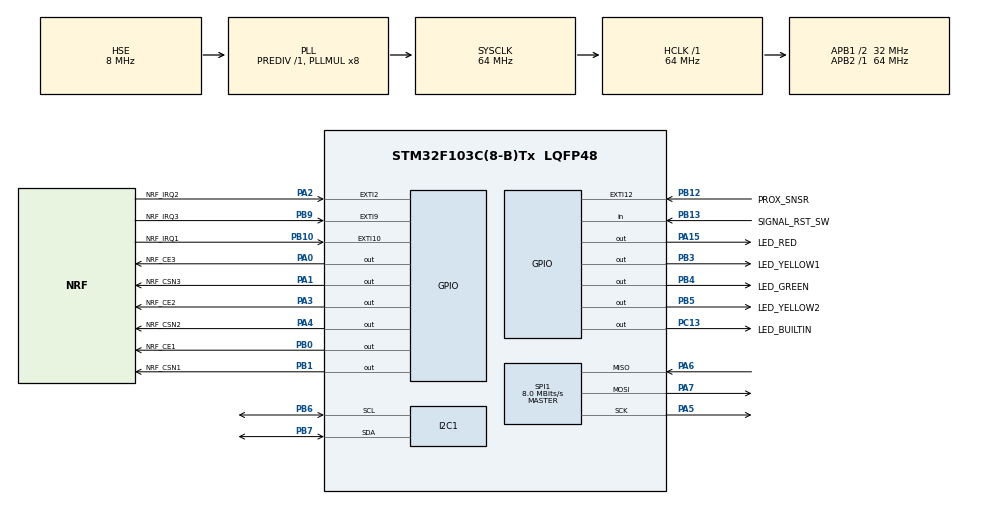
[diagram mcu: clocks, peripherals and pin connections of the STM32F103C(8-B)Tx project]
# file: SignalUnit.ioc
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I2C1.I2C_Mode=I2C_Fast
I2C1.OwnAddress=6
Mcu.Family=STM32F1
Mcu.Name=STM32F103C(8-B)Tx
Mcu.Package=LQFP48
NVIC.EXTI15_10_IRQn=true\:0\:0\:false\:false\:true\:true\:true\:true
NVIC.EXTI2_IRQn=true\:0\:0\:true\:false\:true\:true\:true\:true
NVIC.EXTI9_5_IRQn=true\:0\:0\:true\:false\:true\:true\:true\:true
NVIC.I2C1_ER_IRQn=true\:0\:0\:false\:false\:true\:true\:true\:true
NVIC.I2C1_EV_IRQn=true\:1\:0\:true\:false\:true\:true\:true\:true
NVIC.PriorityGroup=NVIC_PRIORITYGROUP_4
PA0-WKUP.GPIO_Label=NRF_CE3
PA0-WKUP.Signal=GPIO_Output
PA1.GPIO_Label=NRF_CSN3
PA1.PinState=GPIO_PIN_SET
PA1.Signal=GPIO_Output
PA13.Mode=Serial_Wire
PA13.Signal=SYS_JTMS-SWDIO
PA14.Mode=Serial_Wire
PA14.Signal=SYS_JTCK-SWCLK
PA15.GPIO_Label=LED_RED
PA15.Signal=GPIO_Output
PA2.GPIO_Label=NRF_IRQ2
PA2.GPIO_ModeDefaultEXTI=GPIO_MODE_IT_FALLING
PA2.Signal=GPXTI2
PA3.GPIO_Label=NRF_CE2
PA3.Signal=GPIO_Output
PA4.GPIO_Label=NRF_CSN2
PA4.PinState=GPIO_PIN_SET
PA4.Signal=GPIO_Output
PA5.Mode=Full_Duplex_Master
PA5.Signal=SPI1_SCK
PA6.Mode=Full_Duplex_Master
PA6.Signal=SPI1_MISO
PA7.Mode=Full_Duplex_Master
PA7.Signal=SPI1_MOSI
PB0.GPIO_Label=NRF_CE1
PB0.Signal=GPIO_Output
PB1.GPIO_Label=NRF_CSN1
PB1.PinState=GPIO_PIN_SET
PB1.Signal=GPIO_Output
PB10.GPIO_Label=NRF_IRQ1
PB10.GPIO_ModeDefaultEXTI=GPIO_MODE_IT_FALLING
PB10.Signal=GPXTI10
PB12.GPIO_Label=PROX_SNSR
PB12.GPIO_ModeDefaultEXTI=GPIO_MODE_IT_FALLING
PB12.Signal=GPXTI12
PB13.GPIO_Label=SIGNAL_RST_SW
PB13.Signal=GPIO_Input
PB3.GPIO_Label=LED_YELLOW1
PB3.Signal=GPIO_Output
PB4.GPIO_Label=LED_GREEN
PB4.Signal=GPIO_Output
PB5.GPIO_Label=LED_YELLOW2
PB5.Signal=GPIO_Output
PB6.Mode=I2C
PB6.Signal=I2C1_SCL
PB7.Mode=I2C
PB7.Signal=I2C1_SDA
PB9.GPIO_Label=NRF_IRQ3
PB9.GPIO_ModeDefaultEXTI=GPIO_MODE_IT_FALLING
PB9.Signal=GPXTI9
PC13-TAMPER-RTC.GPIO_Label=LED_BUILTIN
PC13-TAMPER-RTC.PinState=GPIO_PIN_SET
PC13-TAMPER-RTC.Signal=GPIO_Output
PD0-OSC_IN.Mode=HSE-External-Oscillator
PD0-OSC_IN.Signal=RCC_OSC_IN
PD1-OSC_OUT.Mode=HSE-External-Oscillator
PD1-OSC_OUT.Signal=RCC_OSC_OUT
ProjectManager.HeapSize=0x200
ProjectManager.StackSize=0x400
ProjectManager.TargetToolchain=STM32CubeIDE
RCC.AHBFreq_Value=64000000
RCC.APB1CLKDivider=RCC_HCLK_DIV2
RCC.APB1Freq_Value=32000000
RCC.APB1TimFreq_Value=64000000
RCC.APB2Freq_Value=64000000
RCC.APB2TimFreq_Value=64000000
RCC.HCLKFreq_Value=64000000
RCC.PLLMUL=RCC_PLL_MUL8
RCC.PLLSourceVirtual=RCC_PLLSOURCE_HSE
RCC.SYSCLKFreq_VALUE=64000000
RCC.SYSCLKSource=RCC_SYSCLKSOURCE_PLLCLK
RCC.USBFreq_Value=64000000
SPI1.BaudRatePrescaler=SPI_BAUDRATEPRESCALER_8
SPI1.CLKPolarity=SPI_POLARITY_LOW
SPI1.CalculateBaudRate=8.0 MBits/s
SPI1.Direction=SPI_DIRECTION_2LINES
SPI1.Mode=SPI_MODE_MASTER
SPI1.VirtualType=VM_MASTER
board=custom

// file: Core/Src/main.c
/* USER CODE BEGIN Header */

/* USER CODE END Header */
#include "main.h"

/* USER CODE BEGIN Includes */
#include "nrf24.h"
#include "config.h"
#include "nodes.h"
/* USER CODE END Includes */

/* USER CODE BEGIN PTD */
typedef enum
{
	SLAVE, MASTER
} NodeType;

typedef struct CommunicatingNode
{
	NRF24 *nrf;
	Payload *pl;
	struct CommunicatingNode *next;
	uint8_t nodeID;
} ComNode;
/* USER CODE END PTD */

I2C_HandleTypeDef hi2c1;

SPI_HandleTypeDef hspi1;

/* USER CODE BEGIN PV */
static NRF24 nrf1 = { &hspi1, NRF_CSN1_GPIO_Port, NRF_CSN1_Pin,
NRF_CE1_Pin, NRF_IRQ1_Pin };
static NRF24 nrf2 = { &hspi1, NRF_CSN2_GPIO_Port, NRF_CSN2_Pin,
NRF_CE2_Pin, NRF_IRQ2_Pin };
static NRF24 nrf3 = { &hspi1, NRF_CSN3_GPIO_Port, NRF_CSN3_Pin,
NRF_CE3_Pin, NRF_IRQ3_Pin };

static Payload locomotiveNodePayload = { 0 }, prevNodePayload = { 0 }, nextNodePayload = { 0 };
volatile Payload i2cPayload = { 0 };

static ComNode prevSignalNode = { 0 }, nextSignalNode = { 0 }, locomotiveNode = { 0 };
static ComNode *currentComNode = NULL;

static volatile bool nrf1IRQTriggered = false, nrf2IRQTriggered = false, nrf3IRQTriggered = false, IICSignalReset = false,
		newI2CPayload = false;
static volatile Signal homeSignalBtnState;
static Signal prevHomeSignalBtnState;

/* USER CODE END PV */

void SystemClock_Config(void);
static void MX_GPIO_Init(void);
static void MX_I2C1_Init(void);
static void MX_SPI1_Init(void);
/* USER CODE BEGIN PFP */
static void inline radioInit(NRF24 *nrf24, const uint8_t *address, uint8_t RFChannel, uint8_t operationMode);
static void inline masterNode(void);
static void inline slaveNode(void);
/* USER CODE END PFP */

int main(void)
{

	/* USER CODE BEGIN 1 */
	NodeType nodeType = (THIS_NODE_NUM % 2) ? SLAVE : MASTER;
	uint8_t nrf24OperationMode = nRF24_MODE_RX;
	/* USER CODE END 1 */

	/* MCU Configuration--------------------------------------------------------*/

	/* Reset of all peripherals, Initializes the Flash interface and the Systick. */
	HAL_Init();

	/* Configure the system clock */
	SystemClock_Config();

	/* Initialize all configured peripherals */
	MX_GPIO_Init();
	MX_I2C1_Init();
	MX_SPI1_Init();
	/* USER CODE BEGIN 2 */
	signalStateInit();

	// if node type is master then set nrf module into PTX mode and start communication with previous node first
	// else set nrf module into PRX and start communication with the next node
	if (nodeType == MASTER)
	{
		nrf24OperationMode = nRF24_MODE_TX;

		if (thisNode.prev != NULL)
			currentComNode = &prevSignalNode;
		else
			currentComNode = &nextSignalNode;

	} else
	{
		nrf24OperationMode = nRF24_MODE_RX;

		if (thisNode.next != NULL)
			currentComNode = &nextSignalNode;
		else
			currentComNode = &prevSignalNode;
	}

	// initialize the nrf module for lower signal node and prev signal node structure (if present)
	if (thisNode.prev != NULL)
	{
		prevSignalNode.nrf = &nrf1;
		prevSignalNode.pl = &prevNodePayload;

		if (thisNode.next != NULL)
			prevSignalNode.next = &nextSignalNode;

		prevSignalNode.nodeID = thisNode.prev->nodeID;
		radioInit(prevSignalNode.nrf, PREV_NODE_ADDRESS, NRF24_LOWER_NODE_RF_CHANNEL, nrf24OperationMode);
	}

	// initialize the nrf module for lower signal node and next signal node structure
	if (thisNode.next != NULL)
	{
		nextSignalNode.nrf = &nrf2;
		nextSignalNode.pl = &nextNodePayload;

		if (thisNode.prev != NULL)
			nextSignalNode.next = &prevSignalNode;

		nextSignalNode.nodeID = thisNode.next->nodeID;

		radioInit(nextSignalNode.nrf, NEXT_NODE_ADDRESS, NRF24_HIGHER_NODE_RF_CHANNEL, nrf24OperationMode);
	}

	locomotiveNode.nrf = &nrf3;
	locomotiveNode.pl = &locomotiveNodePayload;
	locomotiveNode.next = NULL;
	radioInit(locomotiveNode.nrf, LOCOMOTIVE_NODE_ADDRESS, NRF24_LOCOMOTIVE_NODE_RF_CHANNEL, nRF24_MODE_RX);

	/* USER CODE END 2 */

	/* Infinite loop */
	/* USER CODE BEGIN WHILE */

	// if a previous node exist and this node is a slave
	// then write the ack payload and set the respective nrf module in RX mode
	if (thisNode.prev != NULL)
	{
		updateTxPayload(prevSignalNode.pl, thisNode.prev->nodeID);

		if (nrf24OperationMode == nRF24_MODE_RX)
		{
			// update ack payload
			nRF24_WriteAckPayload(prevSignalNode.nrf, nRF24_PIPE0, (char*) prevSignalNode.pl->transmitPayload,
			PAYLOAD_LENGTH);
			// start receiving when configured as PRX
			nRF24_CE_H(prevSignalNode.nrf);
		}
	}

	// if a next node exist and this node is a slave
	// then write the ack payload and set the respective nrf module in RX mode
	if (thisNode.next != NULL)
	{
		updateTxPayload(nextSignalNode.pl, thisNode.next->nodeID);

		if (nrf24OperationMode == nRF24_MODE_RX)
		{
			// update ack payload
			nRF24_WriteAckPayload(nextSignalNode.nrf, nRF24_PIPE0, (char*) nextSignalNode.pl->transmitPayload,
			PAYLOAD_LENGTH);
			// start receiving when configured as PRX
			nRF24_CE_H(nextSignalNode.nrf);
		}
	}

	// initializing the locomotive nrf module
	updateTxPayload(locomotiveNode.pl, LOCOMOTIVE_NODE_ID);
	nRF24_WriteAckPayload(locomotiveNode.nrf, nRF24_PIPE0, (char*) locomotiveNode.pl->transmitPayload, PAYLOAD_LENGTH);
	// write ack payload
	nRF24_CE_H(locomotiveNode.nrf);	// start receiving

	// enable i2c only for first and last node, that is the home signals
	if (THIS_NODE_NUM == 1 || THIS_NODE_NUM == TOTAL_NO_OF_NODES)
	{
		HAL_I2C_Slave_Receive_IT(&hi2c1, i2cPayload.receivePayload, IIC_RX_PAYLOAD_LENGTH);
	}

	while (1)
	{
		// IICSignalReset and homeSignalBtnState are modified in the i2c IRQ,
		// and the only first and last node have i2c enabled
		if ((THIS_NODE_NUM == 1 || THIS_NODE_NUM == TOTAL_NO_OF_NODES) && newI2CPayload)
		{
			thisNode.signalReset = IICSignalReset;

		    // set currentSignalState to RED when Home Signal switch toggles from 0 to 1
		    // set currentSignalState to GREEN when Home Signal switch toggle from 1 to 0
		    if (homeSignalBtnState != prevHomeSignalBtnState) {
		      if (homeSignalBtnState)
					currentSignalState = &red;
		      else {
					currentSignalState = &green;
		      }
		    }
		    prevHomeSignalBtnState = homeSignalBtnState;

			newI2CPayload = false;
		}

		// reset axle counter and signal state
		if ((HAL_GPIO_ReadPin(SIGNAL_RST_SW_GPIO_Port, SIGNAL_RST_SW_Pin) == GPIO_PIN_RESET) || thisNode.signalReset)
		{
			axleCounter = 0;
			currentSignalState = &green;
			trainDir = TRAIN_DIR_NOT_KNOWN;
		}

		switch (nodeType)
		{
		case MASTER:
			masterNode();
			break;

		case SLAVE:
			slaveNode();
			break;

		default:
			break;
		}
		/* USER CODE END WHILE */

	}
}

void SystemClock_Config(void)
{
	RCC_OscInitTypeDef RCC_OscInitStruct = { 0 };
	RCC_ClkInitTypeDef RCC_ClkInitStruct = { 0 };

	/** Initializes the RCC Oscillators according to the specified parameters
	 * in the RCC_OscInitTypeDef structure.
	 */
	RCC_OscInitStruct.OscillatorType = RCC_OSCILLATORTYPE_HSE;
	RCC_OscInitStruct.HSEState = RCC_HSE_ON;
	RCC_OscInitStruct.HSEPredivValue = RCC_HSE_PREDIV_DIV1;
	RCC_OscInitStruct.HSIState = RCC_HSI_ON;
	RCC_OscInitStruct.PLL.PLLState = RCC_PLL_ON;
	RCC_OscInitStruct.PLL.PLLSource = RCC_PLLSOURCE_HSE;
	RCC_OscInitStruct.PLL.PLLMUL = RCC_PLL_MUL8;
	if (HAL_RCC_OscConfig(&RCC_OscInitStruct) != HAL_OK)
	{
		Error_Handler();
	}

	/** Initializes the CPU, AHB and APB buses clocks
	 */
	RCC_ClkInitStruct.ClockType = RCC_CLOCKTYPE_HCLK | RCC_CLOCKTYPE_SYSCLK | RCC_CLOCKTYPE_PCLK1 | RCC_CLOCKTYPE_PCLK2;
	RCC_ClkInitStruct.SYSCLKSource = RCC_SYSCLKSOURCE_PLLCLK;
	RCC_ClkInitStruct.AHBCLKDivider = RCC_SYSCLK_DIV1;
	RCC_ClkInitStruct.APB1CLKDivider = RCC_HCLK_DIV2;
	RCC_ClkInitStruct.APB2CLKDivider = RCC_HCLK_DIV1;

	if (HAL_RCC_ClockConfig(&RCC_ClkInitStruct, FLASH_LATENCY_2) != HAL_OK)
	{
		Error_Handler();
	}
}

static void MX_I2C1_Init(void)
{

	hi2c1.Instance = I2C1;
	hi2c1.Init.ClockSpeed = 400000;
	hi2c1.Init.DutyCycle = I2C_DUTYCYCLE_2;
	hi2c1.Init.OwnAddress1 = 12;
	hi2c1.Init.AddressingMode = I2C_ADDRESSINGMODE_7BIT;
	hi2c1.Init.DualAddressMode = I2C_DUALADDRESS_DISABLE;
	hi2c1.Init.OwnAddress2 = 0;
	hi2c1.Init.GeneralCallMode = I2C_GENERALCALL_DISABLE;
	hi2c1.Init.NoStretchMode = I2C_NOSTRETCH_DISABLE;
	if (HAL_I2C_Init(&hi2c1) != HAL_OK)
	{
		Error_Handler();
	}

}

static void MX_SPI1_Init(void)
{

	/* SPI1 parameter configuration*/
	hspi1.Instance = SPI1;
	hspi1.Init.Mode = SPI_MODE_MASTER;
	hspi1.Init.Direction = SPI_DIRECTION_2LINES;
	hspi1.Init.DataSize = SPI_DATASIZE_8BIT;
	hspi1.Init.CLKPolarity = SPI_POLARITY_LOW;
	hspi1.Init.CLKPhase = SPI_PHASE_1EDGE;
	hspi1.Init.NSS = SPI_NSS_SOFT;
	hspi1.Init.BaudRatePrescaler = SPI_BAUDRATEPRESCALER_8;
	hspi1.Init.FirstBit = SPI_FIRSTBIT_MSB;
	hspi1.Init.TIMode = SPI_TIMODE_DISABLE;
	hspi1.Init.CRCCalculation = SPI_CRCCALCULATION_DISABLE;
	hspi1.Init.CRCPolynomial = 10;
	if (HAL_SPI_Init(&hspi1) != HAL_OK)
	{
		Error_Handler();
	}

}

static void MX_GPIO_Init(void)
{
	GPIO_InitTypeDef GPIO_InitStruct = { 0 };

	/* GPIO Ports Clock Enable */
	__HAL_RCC_GPIOC_CLK_ENABLE();
	__HAL_RCC_GPIOD_CLK_ENABLE();
	__HAL_RCC_GPIOA_CLK_ENABLE();
	__HAL_RCC_GPIOB_CLK_ENABLE();

	/*Configure GPIO pin Output Level */
	HAL_GPIO_WritePin(LED_BUILTIN_GPIO_Port, LED_BUILTIN_Pin, GPIO_PIN_SET);

	/*Configure GPIO pin Output Level */
	HAL_GPIO_WritePin(GPIOA, NRF_CE3_Pin | NRF_CE2_Pin | LED_RED_Pin, GPIO_PIN_RESET);

	/*Configure GPIO pin Output Level */
	HAL_GPIO_WritePin(GPIOA, NRF_CSN3_Pin | NRF_CSN2_Pin, GPIO_PIN_SET);

	/*Configure GPIO pin Output Level */
	HAL_GPIO_WritePin(GPIOB, NRF_CE1_Pin | LED_YELLOW1_Pin | LED_GREEN_Pin | LED_YELLOW2_Pin, GPIO_PIN_RESET);

	/*Configure GPIO pin Output Level */
	HAL_GPIO_WritePin(NRF_CSN1_GPIO_Port, NRF_CSN1_Pin, GPIO_PIN_SET);

	/*Configure GPIO pin : LED_BUILTIN_Pin */
	GPIO_InitStruct.Pin = LED_BUILTIN_Pin;
	GPIO_InitStruct.Mode = GPIO_MODE_OUTPUT_PP;
	GPIO_InitStruct.Pull = GPIO_NOPULL;
	GPIO_InitStruct.Speed = GPIO_SPEED_FREQ_LOW;
	HAL_GPIO_Init(LED_BUILTIN_GPIO_Port, &GPIO_InitStruct);

	/*Configure GPIO pins : NRF_CE3_Pin NRF_CSN3_Pin NRF_CE2_Pin NRF_CSN2_Pin
	 LED_RED_Pin */
	GPIO_InitStruct.Pin = NRF_CE3_Pin | NRF_CSN3_Pin | NRF_CE2_Pin | NRF_CSN2_Pin | LED_RED_Pin;
	GPIO_InitStruct.Mode = GPIO_MODE_OUTPUT_PP;
	GPIO_InitStruct.Pull = GPIO_NOPULL;
	GPIO_InitStruct.Speed = GPIO_SPEED_FREQ_LOW;
	HAL_GPIO_Init(GPIOA, &GPIO_InitStruct);

	/*Configure GPIO pin : NRF_IRQ2_Pin */
	GPIO_InitStruct.Pin = NRF_IRQ2_Pin;
	GPIO_InitStruct.Mode = GPIO_MODE_IT_FALLING;
	GPIO_InitStruct.Pull = GPIO_NOPULL;
	HAL_GPIO_Init(NRF_IRQ2_GPIO_Port, &GPIO_InitStruct);

	/*Configure GPIO pins : NRF_CE1_Pin NRF_CSN1_Pin LED_YELLOW1_Pin LED_GREEN_Pin
	 LED_YELLOW2_Pin */
	GPIO_InitStruct.Pin = NRF_CE1_Pin | NRF_CSN1_Pin | LED_YELLOW1_Pin | LED_GREEN_Pin | LED_YELLOW2_Pin;
	GPIO_InitStruct.Mode = GPIO_MODE_OUTPUT_PP;
	GPIO_InitStruct.Pull = GPIO_NOPULL;
	GPIO_InitStruct.Speed = GPIO_SPEED_FREQ_LOW;
	HAL_GPIO_Init(GPIOB, &GPIO_InitStruct);

	/*Configure GPIO pins : NRF_IRQ1_Pin PROX_SNSR_Pin NRF_IRQ3_Pin */
	GPIO_InitStruct.Pin = NRF_IRQ1_Pin | PROX_SNSR_Pin | NRF_IRQ3_Pin;
	GPIO_InitStruct.Mode = GPIO_MODE_IT_FALLING;
	GPIO_InitStruct.Pull = GPIO_NOPULL;
	HAL_GPIO_Init(GPIOB, &GPIO_InitStruct);

	/*Configure GPIO pin : SIGNAL_RST_SW_Pin */
	GPIO_InitStruct.Pin = SIGNAL_RST_SW_Pin;
	GPIO_InitStruct.Mode = GPIO_MODE_INPUT;
	GPIO_InitStruct.Pull = GPIO_NOPULL;
	HAL_GPIO_Init(SIGNAL_RST_SW_GPIO_Port, &GPIO_InitStruct);

	/* EXTI interrupt init*/
	HAL_NVIC_SetPriority(EXTI2_IRQn, 0, 0);
	HAL_NVIC_EnableIRQ(EXTI2_IRQn);

	HAL_NVIC_SetPriority(EXTI9_5_IRQn, 0, 0);
	HAL_NVIC_EnableIRQ(EXTI9_5_IRQn);

	HAL_NVIC_SetPriority(EXTI15_10_IRQn, 0, 0);
	HAL_NVIC_EnableIRQ(EXTI15_10_IRQn);

}

/* USER CODE BEGIN 4 */

/**
 * @brief Initializes NRF24 modules
 *
 * @param nrf24 pointer to NRF24 object
 * @param address pointer to 5 byte address
 * @param RFChannel radio frequency channel, value from 0 to 124
 * @param operationMode one of nRF24_MODE_xx values
 *
 * @return None
 */
static void inline radioInit(NRF24 *nrf24, const uint8_t *address, uint8_t RFChannel, uint8_t operationMode)
{
	if (nrf24 != NULL)
	{
		nRF24_Init(nrf24);
		nRF24_SetAddrWidth(nrf24, 5);
		nRF24_SetRFChannel(nrf24, RFChannel);
		nRF24_SetDataRate(nrf24, NRF24_DATA_RATE);
		nRF24_SetCRCScheme(nrf24, nRF24_CRC_2byte);
		nRF24_SetTXPower(nrf24, NRF24_TX_PWR);
		nRF24_SetAutoRetr(nrf24, NRF24_AUTO_RETRY_DELAY, NRF24_AUTO_RETRY_COUNT);

		if (operationMode == nRF24_MODE_TX)
			nRF24_SetAddr(nrf24, nRF24_PIPETX, address);

		nRF24_SetAddr(nrf24, nRF24_PIPE0, address);
		nRF24_EnableAA(nrf24, nRF24_PIPE0);
		nRF24_SetOperationalMode(nrf24, operationMode);
		nRF24_SetDynamicPayloadLength(nrf24, nRF24_DPL_ON);
		nRF24_SetPayloadWithAck(nrf24, 1);
		nRF24_SetPowerMode(nrf24, nRF24_PWR_UP);
	}
}

static void inline masterNode(void)
{
	static unsigned long currentMillis, prevTxMillis;
	uint8_t payloadLength = PAYLOAD_LENGTH, status = 0;
	bool payload1Valid = false, payload2Valid = false;

	currentMillis = HAL_GetTick();

	if (currentMillis - prevTxMillis >= TX_INTERVAL)
	{
		// Deassert the CE pin (in case if it still high)
		nRF24_CE_L(currentComNode->nrf);

		if (nRF24_GetStatus_TXFIFO(currentComNode->nrf) == nRF24_STATUS_TXFIFO_FULL)
			nRF24_FlushTX(currentComNode->nrf);

		if (nRF24_GetStatus_RXFIFO(currentComNode->nrf) == nRF24_STATUS_RXFIFO_FULL)
			nRF24_FlushRX(currentComNode->nrf);

		// Transfer a data from the specified buffer to the TX FIFO
		nRF24_WritePayload(currentComNode->nrf, currentComNode->pl->transmitPayload, PAYLOAD_LENGTH);

		// Start a transmission by asserting CE pin (must be held at least 10us)
		nRF24_CE_H(currentComNode->nrf);

		prevTxMillis = currentMillis;
	}

	// payload received from previous node
	if (nrf1IRQTriggered && currentComNode == &prevSignalNode)
	{
		status = nRF24_GetStatus(currentComNode->nrf);

		// nRF24_FLAG_RX_DR bit is when the ack payload is received from PRX
		if ((status & nRF24_FLAG_RX_DR )
				&& nRF24_ReadPayloadDpl(currentComNode->nrf, prevNodePayload.receivePayload, &payloadLength)
						== nRF24_RX_PIPE0)
		{
			payload1Valid = isPayLoadValid(&prevNodePayload, currentComNode->nodeID);
			if (payload1Valid)
			{
				extractPayloadData(&prevNodePayload, currentComNode->nodeID);
				HAL_GPIO_WritePin(LED_BUILTIN_GPIO_Port, LED_BUILTIN_Pin, GPIO_PIN_SET);
			}
		}

		// Deassert the CE pin (Standby-II --> Standby-I)
		nRF24_CE_L(currentComNode->nrf);
		nRF24_ClearIRQFlags(currentComNode->nrf);

		// switch to next node
		if (currentComNode->next != NULL)
		{
			currentComNode = currentComNode->next;
		}

		nrf1IRQTriggered = false;
	}

	// payload received from next node
	if (nrf2IRQTriggered && currentComNode == &nextSignalNode)
	{
		payloadLength = PAYLOAD_LENGTH;
		status = nRF24_GetStatus(currentComNode->nrf);

		// nRF24_FLAG_RX_DR bit is when the ack payload is received from PRX
		if ((status & nRF24_FLAG_RX_DR )
				&& nRF24_ReadPayloadDpl(currentComNode->nrf, nextNodePayload.receivePayload, &payloadLength)
						== nRF24_RX_PIPE0)
		{
			payload2Valid = isPayLoadValid(&nextNodePayload, currentComNode->nodeID);
			if (payload2Valid)
			{
				extractPayloadData(&nextNodePayload, currentComNode->nodeID);
				HAL_GPIO_WritePin(LED_BUILTIN_GPIO_Port, LED_BUILTIN_Pin, GPIO_PIN_RESET);
			}
		}

		// Deassert the CE pin (Standby-II --> Standby-I)
		nRF24_CE_L(currentComNode->nrf);
		nRF24_ClearIRQFlags(currentComNode->nrf);

		if (currentComNode->next != NULL)
		{
			currentComNode = currentComNode->next;
		}

		nrf2IRQTriggered = false;
	}

	// payload received from locomotive node
	if (nrf3IRQTriggered)
	{
		payloadLength = PAYLOAD_LENGTH;
		status = nRF24_GetStatus(locomotiveNode.nrf);

		if ((status & nRF24_FLAG_RX_DR )
				&& nRF24_ReadPayloadDpl(locomotiveNode.nrf, locomotiveNode.pl->receivePayload, &payloadLength)
						== nRF24_RX_PIPE0)
		{
			// response received from locomotive node, but there's no use for that response(at least for now)
			// so it is simply flushed away
			nRF24_FlushRX(locomotiveNode.nrf);
			nRF24_WriteAckPayload(locomotiveNode.nrf, nRF24_PIPE0, (char*) locomotiveNode.pl->transmitPayload,
			PAYLOAD_LENGTH);
		}
		nRF24_ClearIRQFlags(locomotiveNode.nrf);
		nrf3IRQTriggered = false;
	}

	if (payload1Valid || payload2Valid)
	{

		if (thisNode.prev != NULL)
			updateTxPayload(&prevNodePayload, thisNode.prev->nodeID);

		if (thisNode.next != NULL)
			updateTxPayload(&nextNodePayload, thisNode.next->nodeID);

		// update locomotive node payload
		updateTxPayload(locomotiveNode.pl, LOCOMOTIVE_NODE_ID);

		if (thisNode.nodeReady != true)
		{
			thisNode.nodeReady = isNodeReady();

			// all led ON
			HAL_GPIO_WritePin(LED_RED_GPIO_Port, LED_RED_Pin, GPIO_PIN_SET);
			HAL_GPIO_WritePin(LED_YELLOW1_GPIO_Port, LED_GREEN_Pin | LED_YELLOW1_Pin | LED_YELLOW2_Pin, GPIO_PIN_SET);
		} else
		{
			updateSignalState();
			setSignalLeds();
		}

		payload1Valid = false;
		payload2Valid = false;

	}

}

static void inline slaveNode(void)
{
	uint8_t payloadLength = PAYLOAD_LENGTH, status = 0;
	bool payload1Valid = false, payload2Valid = false;

	// payload received from previous node
	if (nrf1IRQTriggered && currentComNode == &prevSignalNode)
	{
		status = nRF24_GetStatus(currentComNode->nrf);

		if ((status & nRF24_FLAG_RX_DR )
				&& nRF24_ReadPayloadDpl(currentComNode->nrf, prevNodePayload.receivePayload, &payloadLength)
						== nRF24_RX_PIPE0)
		{
			payload1Valid = isPayLoadValid(&prevNodePayload, currentComNode->nodeID);
			if (payload1Valid)
			{
				extractPayloadData(&prevNodePayload, currentComNode->nodeID);
				HAL_GPIO_WritePin(LED_BUILTIN_GPIO_Port, LED_BUILTIN_Pin, GPIO_PIN_SET);
			}
		}

		// switch to next node
		if (currentComNode->next != NULL)
		{
			currentComNode = currentComNode->next;
		}
		nRF24_ClearIRQFlags(currentComNode->nrf);
		nrf1IRQTriggered = false;
	}

	// payload received from next node
	if (nrf2IRQTriggered && currentComNode == &nextSignalNode)
	{
		payloadLength = PAYLOAD_LENGTH;
		status = nRF24_GetStatus(currentComNode->nrf);

		// nRF24_FLAG_RX_DS bits are set for a successful reception
		if ((status & nRF24_FLAG_RX_DR )
				&& nRF24_ReadPayloadDpl(currentComNode->nrf, nextNodePayload.receivePayload, &payloadLength)
						== nRF24_RX_PIPE0)
		{
			payload2Valid = isPayLoadValid(&nextNodePayload, currentComNode->nodeID);
			if (payload2Valid)
			{
				extractPayloadData(&nextNodePayload, currentComNode->nodeID);
				HAL_GPIO_WritePin(LED_BUILTIN_GPIO_Port, LED_BUILTIN_Pin, GPIO_PIN_RESET);
			}
		}

		if (currentComNode->next != NULL)
		{
			currentComNode = currentComNode->next;
		}
		nRF24_ClearIRQFlags(currentComNode->nrf);
		nrf2IRQTriggered = false;
	}

	// payload received from locomotive node
	if (nrf3IRQTriggered)
	{
		payloadLength = PAYLOAD_LENGTH;
		status = nRF24_GetStatus(locomotiveNode.nrf);

		if ((status & nRF24_FLAG_RX_DR )
				&& nRF24_ReadPayloadDpl(locomotiveNode.nrf, locomotiveNode.pl->receivePayload, &payloadLength)
						== nRF24_RX_PIPE0)
		{
			// response received from locomotive node, but there's no use for that response(at least for now)
			// so it is simply flushed away
			nRF24_FlushRX(locomotiveNode.nrf);
			if (nRF24_GetStatus_TXFIFO(locomotiveNode.nrf) == nRF24_STATUS_TXFIFO_FULL)
				nRF24_FlushTX(locomotiveNode.nrf);

			nRF24_WriteAckPayload(locomotiveNode.nrf, nRF24_PIPE0, (char*) locomotiveNode.pl->transmitPayload,
			PAYLOAD_LENGTH);
		}
		nRF24_ClearIRQFlags(locomotiveNode.nrf);
		nrf3IRQTriggered = false;
	}

	if (payload1Valid || payload2Valid)
	{
		if (nRF24_GetStatus_TXFIFO(currentComNode->nrf) == nRF24_STATUS_TXFIFO_FULL)
			nRF24_FlushTX(currentComNode->nrf);

		if (nRF24_GetStatus_RXFIFO(currentComNode->nrf) == nRF24_STATUS_RXFIFO_FULL)
			nRF24_FlushRX(currentComNode->nrf);

		if (thisNode.prev != NULL)
		{
			updateTxPayload(&prevNodePayload, thisNode.prev->nodeID);
			// update ack payload
			nRF24_WriteAckPayload(prevSignalNode.nrf, nRF24_PIPE0, (char*) prevSignalNode.pl->transmitPayload,
			PAYLOAD_LENGTH);
		}

		if (thisNode.next != NULL)
		{
			updateTxPayload(&nextNodePayload, thisNode.next->nodeID);
			// update ack payload
			nRF24_WriteAckPayload(nextSignalNode.nrf, nRF24_PIPE0, (char*) nextSignalNode.pl->transmitPayload,
			PAYLOAD_LENGTH);

		}

		// update locomotive node payload
		updateTxPayload(locomotiveNode.pl, LOCOMOTIVE_NODE_ID);

		if (thisNode.nodeReady != true)
		{
			thisNode.nodeReady = isNodeReady();

			// all led ON
			HAL_GPIO_WritePin(LED_RED_GPIO_Port, LED_RED_Pin, GPIO_PIN_SET);
			HAL_GPIO_WritePin(LED_YELLOW1_GPIO_Port, LED_GREEN_Pin | LED_YELLOW1_Pin | LED_YELLOW2_Pin, GPIO_PIN_SET);
		} else
		{
			updateSignalState();
			setSignalLeds();
		}
		payload1Valid = false;
		payload2Valid = false;

	}

}

void HAL_GPIO_EXTI_Callback(uint16_t GPIO_Pin)
{

	// set IRQ trigger flags
	if (GPIO_Pin == NRF_IRQ1_Pin)
	{
		nrf1IRQTriggered = true;

	}
	if (GPIO_Pin == NRF_IRQ2_Pin)
	{
		nrf2IRQTriggered = true;
	}
	if (GPIO_Pin == NRF_IRQ3_Pin)
	{
		nrf3IRQTriggered = true;
	}

	if (GPIO_Pin == PROX_SNSR_Pin)
	{
		if (HAL_GPIO_ReadPin(PROX_SNSR_GPIO_Port, PROX_SNSR_Pin) == GPIO_PIN_RESET)
		{
			axleCounter++;
		}

		// setting currentSignalState to RED if not already RED
		// finding train direction, whether moving from higher node to lower node or vice versa
		if (currentSignalState->state != RED)
		{
			currentSignalState = &red;

			if (THIS_NODE_NUM == 1)
			{
				// for first node
				// check next node axle counter
				// if it is greater than this node than train is moving towards lower node
				// else it is moving towards higher node
				if (thisNode.next->axleCount > axleCounter)
				{
					trainDir = TO_LOWER_NODE;
				} else if (thisNode.next->axleCount < axleCounter)
				{
					trainDir = TO_HIGHER_NODE;
				} else
				{
					trainDir = TRAIN_DIR_NOT_KNOWN;
				}
			} else if (THIS_NODE_NUM == TOTAL_NO_OF_NODES)
			{
				// for last node
				// check prev node axle counter
				// if it is greater than this node than train is moving towards higher node
				// else it is moving towards lower node
				if (thisNode.prev->axleCount > axleCounter)
				{
					trainDir = TO_HIGHER_NODE;
				} else if (thisNode.prev->axleCount < axleCounter)
				{
					trainDir = TO_LOWER_NODE;
				} else
				{
					trainDir = TRAIN_DIR_NOT_KNOWN;
				}
			} else
			{
				// for  center node
				// check if prev node axle counter is greater than next node axle counter, train is moving towards higher node
				// else if prev node axle counter is less than next node axle counter, train is moving towards lower node
				if (thisNode.prev->axleCount > axleCounter && thisNode.next->axleCount < axleCounter)
				{
					trainDir = TO_HIGHER_NODE;
				} else if (thisNode.prev->axleCount < axleCounter && thisNode.next->axleCount > axleCounter)
				{
					trainDir = TO_LOWER_NODE;
				} else
				{
					trainDir = TRAIN_DIR_NOT_KNOWN;
				}
			}
		}
	}
}

void HAL_I2C_SlaveRxCpltCallback(I2C_HandleTypeDef *hi2c)
{
	if (hi2c->Instance == I2C1)
	{
		HAL_I2C_Slave_Transmit_IT(&hi2c1, locomotiveNodePayload.transmitPayload, PAYLOAD_LENGTH);
		IICSignalReset = i2cPayload.receivePayload[IIC_SIGNAL_RESET_INDEX];
		homeSignalBtnState = (Signal) i2cPayload.receivePayload[IIC_HOME_SIGNAL_STATE_INDEX];
		newI2CPayload = true;
	}
}

void HAL_I2C_SlaveTxCpltCallback(I2C_HandleTypeDef *hi2c)
{
	if (hi2c->Instance == I2C1)
	{
		HAL_I2C_Slave_Receive_IT(&hi2c1, i2cPayload.receivePayload, IIC_RX_PAYLOAD_LENGTH);
	}
}
/* USER CODE END 4 */

void Error_Handler(void)
{
	__disable_irq();
	while (1)
	{
	}
}
